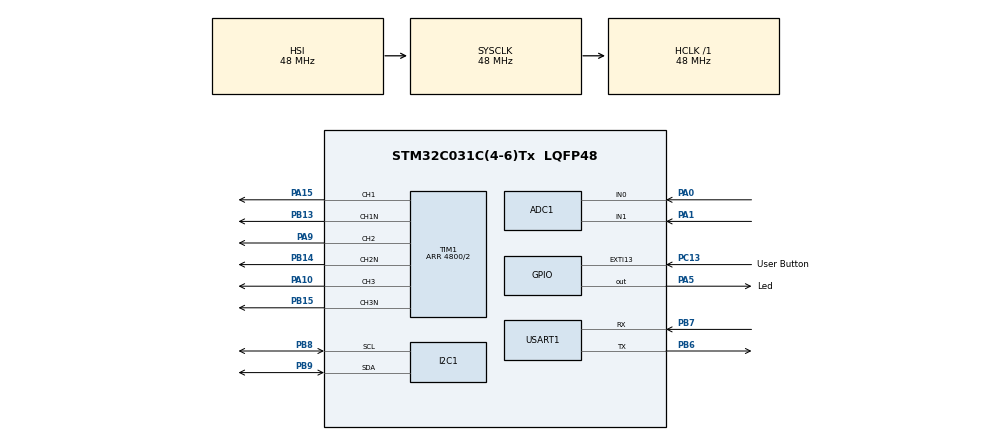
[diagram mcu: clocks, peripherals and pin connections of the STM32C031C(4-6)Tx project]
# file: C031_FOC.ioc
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ADC1.Channel-2\#ChannelRegularConversion=ADC_CHANNEL_1
ADC1.DMAContinuousRequests=ENABLE
ADC1.ExternalTrigConv=ADC_EXTERNALTRIG_T1_CC4
ADC1.NbrOfConversion=2
ADC1.NbrOfConversionFlag=1
ADC1.Rank-2\#ChannelRegularConversion=2
ADC1.SamplingTime-2\#ChannelRegularConversion=ADC_SAMPLINGTIME_COMMON_1
ADC1.SamplingTimeCommon1=ADC_SAMPLETIME_3CYCLES_5
ADC1.SamplingTimeCommon2=ADC_SAMPLETIME_3CYCLES_5
ADC1.SelectedChannel=ADC_CHANNEL_0|ADC_CHANNEL_1
ADC1.master=1
Dma.ADC1.0.Direction=DMA_PERIPH_TO_MEMORY
Dma.ADC1.0.EventEnable=DISABLE
Dma.ADC1.0.Instance=DMA1_Channel1
Dma.ADC1.0.MemDataAlignment=DMA_MDATAALIGN_HALFWORD
Dma.ADC1.0.MemInc=DMA_MINC_ENABLE
Dma.ADC1.0.Mode=DMA_CIRCULAR
Dma.ADC1.0.PeriphDataAlignment=DMA_PDATAALIGN_HALFWORD
Dma.ADC1.0.PeriphInc=DMA_PINC_DISABLE
Dma.ADC1.0.Polarity=HAL_DMAMUX_REQ_GEN_RISING
Dma.ADC1.0.Priority=DMA_PRIORITY_LOW
Dma.ADC1.0.RequestNumber=1
Dma.ADC1.0.SignalID=NONE
Dma.ADC1.0.SyncEnable=DISABLE
Dma.ADC1.0.SyncPolarity=HAL_DMAMUX_SYNC_NO_EVENT
Dma.ADC1.0.SyncRequestNumber=1
Dma.ADC1.0.SyncSignalID=NONE
Dma.Request0=ADC1
I2C1.Timing=0x20303E5D
Mcu.Family=STM32C0
Mcu.Name=STM32C031C(4-6)Tx
Mcu.Package=LQFP48
NVIC.DMA1_Channel1_IRQn=true\:0\:0\:false\:false\:true\:false\:true\:true
NVIC.EXTI4_15_IRQn=true\:0\:0\:false\:false\:true\:true\:true\:true
NVIC.TIM1_BRK_UP_TRG_COM_IRQn=true\:1\:0\:true\:false\:true\:true\:true\:true
PA0.Mode=IN0
PA0.Signal=ADC1_IN0
PA1.Mode=IN1
PA1.Signal=ADC1_IN1
PA10.Signal=S_TIM1_CH3
PA13.Mode=Serial_Wire
PA13.Signal=DEBUG_SWDIO
PA14-BOOT0.Mode=Serial_Wire
PA14-BOOT0.Signal=DEBUG_SWCLK
PA15.Signal=S_TIM1_CH1
PA5.GPIO_Label=Led
PA5.GPIO_Speed=GPIO_SPEED_FREQ_VERY_HIGH
PA5.PinState=GPIO_PIN_SET
PA5.Signal=GPIO_Output
PA9.Signal=S_TIM1_CH2
PB13.Mode=PWM Generation1 CH1 CH1N
PB13.Signal=TIM1_CH1N
PB14.Mode=PWM Generation2 CH2 CH2N
PB14.Signal=TIM1_CH2N
PB15.Mode=PWM Generation3 CH3 CH3N
PB15.Signal=TIM1_CH3N
PB6.Mode=Asynchronous
PB6.Signal=USART1_TX
PB7.Mode=Asynchronous
PB7.Signal=USART1_RX
PB8.Mode=I2C
PB8.Signal=I2C1_SCL
PB9.Mode=I2C
PB9.Signal=I2C1_SDA
PC13.GPIO_Label=User Button
PC13.Signal=GPXTI13
PC14-OSCX_IN\ (PC14).Mode=LSE-External-Oscillator
PC14-OSCX_IN\ (PC14).Signal=RCC_OSCX_IN
PC15-OSCX_OUT\ (PC15).Mode=LSE-External-Oscillator
PC15-OSCX_OUT\ (PC15).Signal=RCC_OSCX_OUT
PF0-OSC_IN\ (PF0).Mode=HSE-External-Oscillator
PF0-OSC_IN\ (PF0).Signal=RCC_OSC_IN
PF1-OSC_OUT\ (PF1).Mode=HSE-External-Oscillator
PF1-OSC_OUT\ (PF1).Signal=RCC_OSC_OUT
ProjectManager.HeapSize=0x200
ProjectManager.StackSize=0x400
ProjectManager.TargetToolchain=STM32CubeIDE
RCC.ADCFreq_Value=48000000
RCC.AHBFreq_Value=48000000
RCC.CortexFreq_Value=48000000
RCC.EXTERNAL_CLOCK_VALUE=12288000
RCC.HCLKFreq_Value=48000000
RCC.HSE_VALUE=48000000
RCC.HSISYSCLKDivider=RCC_HSI_DIV1
RCC.HSI_VALUE=48000000
RCC.SYSCLKFreq_VALUE=48000000
SH.S_TIM1_CH1.0=TIM1_CH1,PWM Generation1 CH1 CH1N
SH.S_TIM1_CH2.0=TIM1_CH2,PWM Generation2 CH2 CH2N
SH.S_TIM1_CH3.0=TIM1_CH3,PWM Generation3 CH3 CH3N
TIM1.Channel-PWM\ Generation1\ CH1\ CH1N=TIM_CHANNEL_1
TIM1.Channel-PWM\ Generation2\ CH2\ CH2N=TIM_CHANNEL_2
TIM1.Channel-PWM\ Generation3\ CH3\ CH3N=TIM_CHANNEL_3
TIM1.Channel-PWM\ Generation4\ No\ Output=TIM_CHANNEL_4
TIM1.ClockDivision=TIM_CLOCKDIVISION_DIV2
TIM1.CounterMode=TIM_COUNTERMODE_CENTERALIGNED1
TIM1.OCMode_PWM-PWM\ Generation4\ No\ Output=TIM_OCMODE_PWM2
TIM1.Period=4800/2
TIM1.Pulse-PWM\ Generation4\ No\ Output=(4800/2)-1
TIM1.RepetitionCounter=1
TIM1.TIM_MasterOutputTrigger=TIM_TRGO_OC4REF
USART1.VirtualMode-Asynchronous=VM_ASYNC
VP_TIM1_VS_ClockSourceINT.Mode=Internal
VP_TIM1_VS_no_output4.Mode=PWM Generation4 No Output
board=NUCLEO-C031C6

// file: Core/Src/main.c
/* USER CODE BEGIN Header */
/**
  ******************************************************************************
  * @file           : main.c
  * @brief          : Main program body
  ******************************************************************************
  * @attention
  *
  * Copyright (c) 2024 STMicroelectronics.
  * All rights reserved.
  *
  * This software is licensed under terms that can be found in the LICENSE file
  * in the root directory of this software component.
  * If no LICENSE file comes with this software, it is provided AS-IS.
  *
  ******************************************************************************
  */
/* USER CODE END Header */
#include "main.h"
#include "adc.h"
#include "dma.h"
#include "i2c.h"
#include "tim.h"
#include "usart.h"
#include "gpio.h"

/* USER CODE BEGIN Includes */
#include "foc.h"
/* USER CODE END Includes */

/* USER CODE BEGIN PV */

#define PI 3.1415926
uint16_t adc1_val_buf1[4] = {0};
extern ExtU rtU;
extern ExtY rtY;
extern DMA_HandleTypeDef hdma_adc1;

/* USER CODE END PV */

void SystemClock_Config(void);
/* USER CODE BEGIN PFP */

void dmaAdcCallback(struct __DMA_HandleTypeDef *hdma);
/* USER CODE END PFP */

int main(void)
{

  /* MCU Configuration--------------------------------------------------------*/

  /* Reset of all peripherals, Initializes the Flash interface and the Systick. */
  HAL_Init();

  /* Configure the system clock */
  SystemClock_Config();

  /* Initialize all configured peripherals */
  MX_GPIO_Init();
  MX_DMA_Init();
  MX_ADC1_Init();
  MX_I2C1_Init();
  MX_TIM1_Init();
  MX_USART1_UART_Init();
  /* USER CODE BEGIN 2 */
    rtU.ud = 0;
    rtU.uq = 5;
    rtU.Tpwm = 4800;
    rtU.udc = 12;
    HAL_ADC_Start_DMA(&hadc1,(uint32_t*)&adc1_val_buf1,2);
    hdma_adc1.XferCpltCallback = dmaAdcCallback;
    HAL_TIM_PWM_Start(&htim1, TIM_CHANNEL_1);
    HAL_TIM_PWM_Start(&htim1, TIM_CHANNEL_2);
    HAL_TIM_PWM_Start(&htim1, TIM_CHANNEL_3);
    HAL_TIM_PWM_Start(&htim1, TIM_CHANNEL_4);
    HAL_TIMEx_PWMN_Start(&htim1,TIM_CHANNEL_1);
    HAL_TIMEx_PWMN_Start(&htim1, TIM_CHANNEL_2);
    HAL_TIMEx_PWMN_Start(&htim1, TIM_CHANNEL_3);

  /* USER CODE END 2 */

  /* Infinite loop */
  while (1)
  {

  }
}

void SystemClock_Config(void)
{
  RCC_OscInitTypeDef RCC_OscInitStruct = {0};
  RCC_ClkInitTypeDef RCC_ClkInitStruct = {0};

  /** Initializes the RCC Oscillators according to the specified parameters
  * in the RCC_OscInitTypeDef structure.
  */
  RCC_OscInitStruct.OscillatorType = RCC_OSCILLATORTYPE_HSI;
  RCC_OscInitStruct.HSIState = RCC_HSI_ON;
  RCC_OscInitStruct.HSIDiv = RCC_HSI_DIV1;
  RCC_OscInitStruct.HSICalibrationValue = RCC_HSICALIBRATION_DEFAULT;
  if (HAL_RCC_OscConfig(&RCC_OscInitStruct) != HAL_OK)
  {
    Error_Handler();
  }

  /** Initializes the CPU, AHB and APB buses clocks
  */
  RCC_ClkInitStruct.ClockType = RCC_CLOCKTYPE_HCLK|RCC_CLOCKTYPE_SYSCLK
                              |RCC_CLOCKTYPE_PCLK1;
  RCC_ClkInitStruct.SYSCLKSource = RCC_SYSCLKSOURCE_HSI;
  RCC_ClkInitStruct.SYSCLKDivider = RCC_SYSCLK_DIV1;
  RCC_ClkInitStruct.AHBCLKDivider = RCC_HCLK_DIV1;
  RCC_ClkInitStruct.APB1CLKDivider = RCC_APB1_DIV1;

  if (HAL_RCC_ClockConfig(&RCC_ClkInitStruct, FLASH_LATENCY_1) != HAL_OK)
  {
    Error_Handler();
  }
}

/* USER CODE BEGIN 4 */
void dmaAdcCallback(struct __DMA_HandleTypeDef *hdma) {
    rtU.theta += 0.01;
    if (rtU.theta >= 2.0f * PI) {
        rtU.theta -= 2.0f * PI;
    }
    foc_step();
    htim1.Instance->CCR1 = (uint16_t) rtY.Tcmp1;
    htim1.Instance->CCR2 = (uint16_t) rtY.Tcmp2;
    htim1.Instance->CCR3 = (uint16_t) rtY.Tcmp3;
}
/* USER CODE END 4 */

void Error_Handler(void)
{
  __disable_irq();
  while (1)
  {
  }
}
